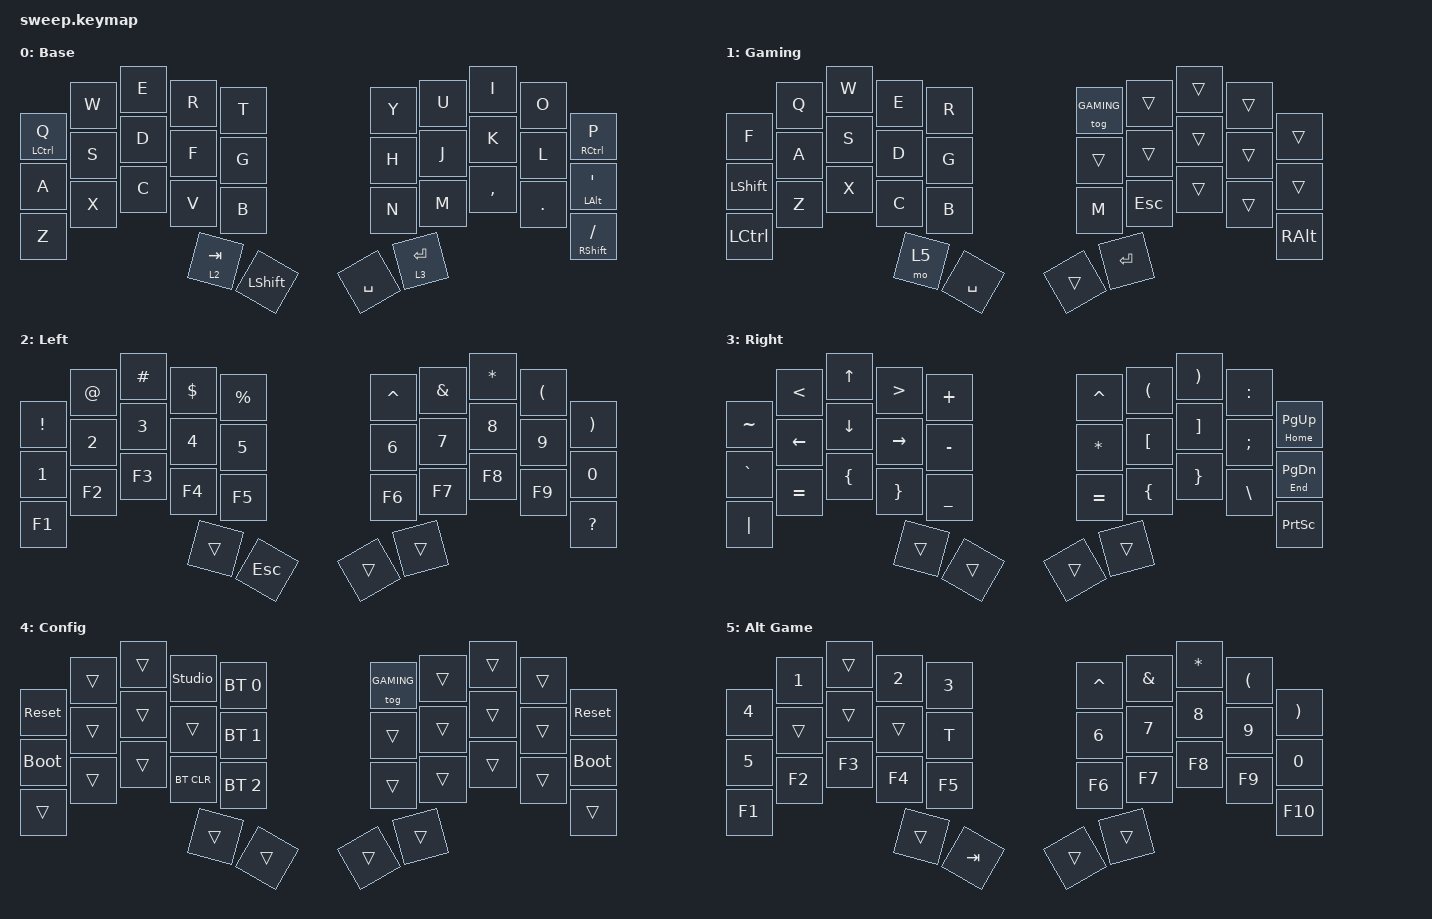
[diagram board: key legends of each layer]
// Copyright (c) 2022 The ZMK Contributors
// SPDX-License-Identifier: MIT

#include <behaviors.dtsi>
#include <dt-bindings/zmk/keys.h>
#include <dt-bindings/zmk/bt.h>

// Home row mods macro
//#define HRML(k1,k2,k3,k4) &kp k1  &kp k2  &kp k3  &kp k4
//#define HRMR(k1,k2,k3,k4) &kp k1  &kp k2  &kp k3  &ht RALT k4

#define DEFAULT 0
#define GAMING 1
#define LEFT_LYR 2
#define RIGHT_LYR 3
#define BOTH 4
#define GAMING_ALT 5

/ {
    behaviors {
        ht: hold_tap {
            label = "hold_tap";
            compatible = "zmk,behavior-hold-tap";
            #binding-cells = <2>;
            flavor = "tap-preferred";
            tapping-term-ms = <180>;
            require-prior-idle-ms = <80>;
            quick-tap-ms = <50>;
            global-quick-tap;
            bindings = <&kp>, <&kp>;
        };
        st: shift_tap {
            label = "shift_tap";
            compatible = "zmk,behavior-hold-tap";
            #binding-cells = <2>;
            flavor = "tap-preferred";
            tapping-term-ms = <120>;
            bindings = <&kp>, <&kp>;
        };
    };

    conditional_layers {
        compatible = "zmk,conditional-layers";
        both_layer {
            if-layers = <LEFT_LYR RIGHT_LYR>;
            then-layer = <BOTH>;
        };
    };

    combos {
        compatible = "zmk,combos";
        combo_esc {
            timeout-ms = <40>;
            key-positions = <1 2>;
            bindings = <&kp ESC>;
            layers = <DEFAULT>;
            require-prior-idle-ms = <250>;
        };
        combo_del {
            timeout-ms = <40>;
            key-positions = <6 7>;
            bindings = <&kp DEL>;
            require-prior-idle-ms = <250>;
        };
        combo_bksp {
            timeout-ms = <40>;
            key-positions = <16 17>;
            bindings = <&kp BSPC>;
        };
        combo_lwin {
            timeout-ms = <30>;
            key-positions = <23 24>;
            bindings = <&kp LGUI>;
            layers = <0 2 3>;
            require-prior-idle-ms = <500>;
        };
        combo_rwin {
            timeout-ms = <30>;
            key-positions = <25 26>;
            bindings = <&kp LGUI>;
            require-prior-idle-ms = <500>;
        };
        combo_lshift {
            timeout-ms = <30>;
            key-positions = <20 21>;
            bindings = <&kp LSHIFT>;
            layers = <0 2 3>;
        };
        combo_rshift {
            timeout-ms = <30>;
            key-positions = <28 29>;
            bindings = <&kp RSHIFT>;
        };
        combo_capsword {
            timeout-ms = <40>;
            key-positions = <20 29>;
            bindings =<&caps_word>;
        };
        combo_copy {
            timeout-ms = <30>;
            bindings = <&kp LG(C)>;
            key-positions = <30 22>;
        };
        combo_paste {
            timeout-ms = <30>;
            bindings = <&kp LG(V)>;
            key-positions = <30 23>;
        };
        combo_word_backspace {
            timeout-ms = <30>;
            bindings = <&kp LG(BACKSPACE)>;
            key-positions = <9 33>;
        };
        combo_line_backspace {
            timeout-ms = <30>;
            bindings = <&kp LG(DEL)>;
            key-positions = <33 19>;
        };
    };

    keymap {
        compatible = "zmk,keymap";
        default_layer {
            display-name = "Base";
            bindings = <
        //╭──────────┬──────────┬──────────┬──────────┬──────────╮   ╭──────────┬──────────┬──────────┬──────────┬──────────╮
        //│  Q       │  W       │  E       │  R       │  T       │   │  Y       │  U       │  I       │  O       │  P       │
          &ht LCTRL Q    &kp W      &kp E      &kp R      &kp T          &kp Y      &kp U      &kp I   &kp O    &ht RCTRL P
        //├──────────┼──────────┼──────────┼──────────┼──────────┤   ├──────────┼──────────┼──────────┼──────────┼──────────┤
        //│  A       │  S       │  D       │  F       │  G       │   │  H       │  J       │  K       │  L       │ ' "      │
            &kp A       &kp S       &kp D       &kp F     &kp G          &kp H      &kp J       &kp K     &kp L   &ht LALT SQT
        //├──────────┼──────────┼──────────┼──────────┼──────────┤   ├──────────┼──────────┼──────────┼──────────┼──────────┤
        //│  Z       │  X       │  C       │  V       │  B       │   │  N       │  M       │ , <      │ . >      │ / ?      │
             &kp Z     &kp X      &kp C      &kp V      &kp B          &kp N      &kp M      &kp COMMA  &kp DOT  &ht RSHIFT FSLH
        //╰──────────┴──────────┴──────────┼──────────┼──────────┤   ├──────────┼──────────┼──────────┴──────────┴──────────╯
                                            &lt 2 TAB &kp LSHIFT      &kp SPACE   &lt 3 ENTER
        //                                 ╰──────────┴──────────╯   ╰──────────┴──────────╯
            >;
        };

        gaming_layer {
            display-name = "Gaming";
            bindings = <
        //╭──────────┬──────────┬──────────┬──────────┬──────────╮   ╭──────────┬──────────┬──────────┬──────────┬──────────╮
        //│  F       │  Q       │  W       │  E       │  R       │   │          │          │          │          │          │
            &kp F       &kp Q      &kp W      &kp E    &kp R         &tog GAMING    &trans      &trans     &trans   &trans
        //├──────────┼──────────┼──────────┼──────────┼──────────┤   ├──────────┼──────────┼──────────┼──────────┼──────────┤
        //│  Shift   │  A       │  S       │  D       │  G       │   │          │          │          │          │          │
            &kp LSHIFT    &kp A      &kp S     &kp D   &kp G          &trans     &trans     &trans     &trans      &trans
        //├──────────┼──────────┼──────────┼──────────┼──────────┤   ├──────────┼──────────┼──────────┼──────────┼──────────┤
        //│  CTRL    │  Z        │  X       │  C       │  B      │   │    M   │   ESC    │          │          │
            &kp LCTRL  &kp Z      &kp X      &kp C      &kp B        &kp M     &kp ESC   &trans     &trans      &kp RALT
        //╰──────────┴──────────┴──────────┼──────────┼──────────┤   ├──────────┼──────────┼──────────┴──────────┴──────────╯
                                              &mo 5   &kp SPACE     &trans      &kp ENTER
        //                                 ╰──────────┴──────────╯   ╰──────────┴──────────╯
            >;
        };

        left_layer {
            display-name = "Left";
            bindings = <
        //╭──────────┬──────────┬──────────┬──────────┬──────────╮   ╭──────────┬──────────┬──────────┬──────────┬──────────╮
        //│  !       │  @       │  #       │  $       │  %       │   │     ^    │   &      │    *     │   (      │    )     │
            &kp EXCL   &kp AT     &kp HASH   &kp DLLR    &kp PRCNT       &kp CARET   &kp AMPS  &kp ASTRK  &kp LPAR    &kp RPAR
        //├──────────┼──────────┼──────────┼──────────┼──────────┤   ├──────────┼──────────┼──────────┼──────────┼──────────┤
        //│ 1        │  2       │   3      │   4      │     5    │   │  6       │  7       │     8    │    9     │    0      │
            &kp N1       &kp N2     &kp N3     &kp N4     &kp N5       &kp N6      &kp N7    &kp N8     &kp N9     &kp N0
        //├──────────┼──────────┼──────────┼──────────┼──────────┤   ├──────────┼──────────┼──────────┼──────────┼──────────┤
        //│ F1       │   F2     │    F3    │   F4     │   F5     │   │  F6      │   F7     │  F8      │   F9     │   ?     │
            &kp F1     &kp F2    &kp F3      &kp F4     &kp F5         &kp F6     &kp F7     &kp F8     &kp F9     &kp QMARK
        //╰──────────┴──────────┴──────────┼──────────┼──────────┤   ├──────────┼──────────┼──────────┴──────────┴──────────╯
                                             &trans     &kp ESC        &trans     &trans
        //                                 ╰──────────┴──────────╯   ╰──────────┴──────────╯
            >;
        };

        right_layer {
            display-name = "Right";
            bindings = <
        //╭──────────┬──────────┬──────────┬──────────┬──────────╮   ╭──────────┬──────────┬──────────┬──────────┬──────────╮
        //│     ~    │  <       │  U Arrow │  >       │     +     │   │  ^      │  (       │   )      │  :       │  PG_UP   │
            &kp TILDE  &kp LT      &kp UP   &kp GT      &kp PLUS       &kp CARET  &kp LPAR   &kp RPAR  &kp COLON  &ht HOME PG_UP
        //├──────────┼──────────┼──────────┼──────────┼──────────┤   ├──────────┼──────────┼──────────┼──────────┼──────────┤
        //│     `    │  L Arrow │  D Arrow │  R Arrow │    -     │   │  *       │    [     │    ]     │    ;     │  PG_DN   │
            &kp GRAVE   &kp LEFT    &kp DOWN   &kp RIGHT &kp MINUS    &kp ASTRK  &kp LBKT   &kp RBKT   &kp SEMI   &ht END PG_DN
        //├──────────┼──────────┼──────────┼──────────┼──────────┤   ├──────────┼──────────┼──────────┼──────────┼──────────┤
        //│    |     │    =     │    {     │   }      │     _    │   │   =      │    {     │    }     │    \     │ PSCRN    │
            &kp PIPE   &kp EQUAL   &kp LBRC  &kp RBRC   &kp UNDER     &kp EQUAL &kp LBRC  &kp RBRC     &kp BSLH   &kp PSCRN
        //╰──────────┴──────────┴──────────┼──────────┼──────────┤   ├──────────┼──────────┼──────────┴──────────┴──────────╯
                                             &trans     &trans         &trans     &trans
        //                                 ╰──────────┴──────────╯   ╰──────────┴──────────╯
            >;
        };

        both_layer {
            display-name = "Config";
            bindings = <
        //╭──────────┬──────────┬──────────┬──────────┬──────────╮   ╭──────────┬──────────┬──────────┬──────────┬──────────╮
        //│ RESET    │          │          │          │PROFILE 0 │   │          │          │          │          │  RESET   │
           &sys_reset  &trans     &trans  &studio_unlock  &bt BT_SEL 0    &tog GAMING   &trans     &trans     &trans   &sys_reset
        //├──────────┼──────────┼──────────┼──────────┼──────────┤   ├──────────┼──────────┼──────────┼──────────┼──────────┤
        //│BOOTLOADER│          │          │          │PROFILE 1 │   │          │          │          │          │BOOTLOADER│
          &bootloader  &trans     &trans     &trans    &bt BT_SEL 1    &trans     &trans     &trans     &trans    &bootloader
        //├──────────┼──────────┼──────────┼──────────┼──────────┤   ├──────────┼──────────┼──────────┼──────────┼──────────┤
        //│          │          │          │ CLEAR BT │PROFILE 2 │   │          │          │          │          │          │
            &trans     &trans     &trans    &bt BT_CLR &bt BT_SEL 2    &trans     &trans     &trans     &trans     &trans
        //╰──────────┴──────────┴──────────┼──────────┼──────────┤   ├──────────┼──────────┼──────────┴──────────┴──────────╯
                                             &trans     &trans         &trans     &trans
        //                                 ╰──────────┴──────────╯   ╰──────────┴──────────╯
            >;
        };
        gamingalt_layer {
            display-name = "Alt Game";
            bindings = <
        //╭──────────┬──────────┬──────────┬──────────┬──────────╮   ╭──────────┬──────────┬──────────┬──────────┬──────────╮
        //│  4       │  1       │          │  2       │  3       │   │     ^    │   &      │    *     │   (      │    )     │
            &kp N4        &kp N1     &trans   &kp N2    &kp N3      &kp CARET   &kp AMPS  &kp ASTRK  &kp LPAR    &kp RPAR
        //├──────────┼──────────┼──────────┼──────────┼──────────┤   ├──────────┼──────────┼──────────┼──────────┼──────────┤
        //│  5       │          │          │          │     T    │   │  6       │  7       │     8    │    9     │    0      │
            &kp N5       &trans     &trans     &trans     &kp T       &kp N6      &kp N7    &kp N8     &kp N9     &kp N0
        //├──────────┼──────────┼──────────┼──────────┼──────────┤   ├──────────┼──────────┼──────────┼──────────┼──────────┤
        //│ F1       │   F2     │    F3    │   F4     │   F5     │   │  F6      │   F7     │  F8      │   F9     │   F10    │
            &kp F1     &kp F2    &kp F3      &kp F4     &kp F5         &kp F6     &kp F7     &kp F8     &kp F9     &kp F10
        //╰──────────┴──────────┴──────────┼──────────┼──────────┤   ├──────────┼──────────┼──────────┴──────────┴──────────╯
                                             &trans     &kp TAB         &trans     &trans
        //                                 ╰──────────┴──────────╯   ╰──────────┴──────────╯
            >;
        };
        extra1 {
            status = "reserved";
        };
        extra2 {
            status = "reserved";
        };
        extra3 {
            status = "reserved";
        };
    };
};
